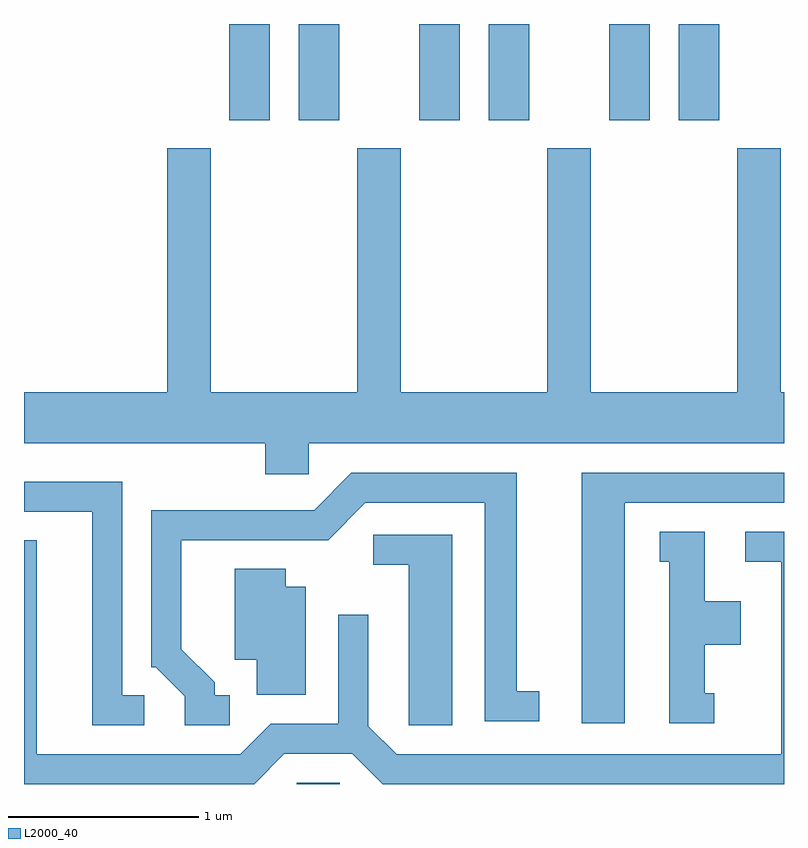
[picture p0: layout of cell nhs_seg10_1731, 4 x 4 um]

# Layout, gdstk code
import gdstk
lib = gdstk.Library(unit=1e-6, precision=1e-09)
def R(c, l, rs):  # rectangles x0, y0, x1, y1
    for r in rs: c.add(gdstk.rectangle(r[:2], r[2:], *l))
def P(c, l, *ps):  # polygons
    for p in ps: c.add(gdstk.Polygon(p, *l))
L2000_40 = (2000, 40)

nhs_seg10_1731 = lib.new_cell('nhs_seg10_1731')
R(nhs_seg10_1731, L2000_40, [(237.046,2156.522,237.274,2156.529), (236.691,2160.016,236.904,2160.522), (237.056,2160.016,237.269,2160.522), (237.691,2160.016,237.904,2160.522), (238.056,2160.016,238.269,2160.522), (238.691,2160.016,238.904,2160.522), (239.056,2160.016,239.269,2160.522)])
P(nhs_seg10_1731, L2000_40, [(237.109,2158.316),(239.611,2158.316),(239.611,2158.584),(239.594,2158.584),(239.594,2159.869),(239.366,2159.869),(239.366,2158.584),(238.594,2158.584),(238.594,2159.869),(238.366,2159.869),(238.366,2158.584),(237.594,2158.584),(237.594,2159.869),(237.366,2159.869),(237.366,2158.584),(236.594,2158.584),(236.594,2159.869),(236.366,2159.869),(236.366,2158.584),(235.611,2158.584),(235.611,2158.316),(236.881,2158.316),(236.881,2158.151),(237.109,2158.151)],
  [(236.693,2156.989),(236.614,2156.989),(236.614,2157.057),(236.439,2157.232),(236.439,2157.806),(237.212,2157.806),(237.407,2158.001),(238.036,2158.001),(238.036,2156.851),(238.323,2156.851),(238.323,2157.009),(238.204,2157.009),(238.204,2158.159),(237.334,2158.159),(237.139,2157.964),(236.281,2157.964),(236.281,2157.136),(236.304,2157.136),(236.456,2156.984),(236.456,2156.831),(236.693,2156.831)],
  [(238.774,2158.001),(239.611,2158.001),(239.611,2158.159),(238.546,2158.159),(238.546,2156.841),(238.774,2156.841)],
  [(236.243,2156.989),(236.129,2156.989),(236.129,2158.114),(235.611,2158.114),(235.611,2157.956),(235.971,2157.956),(235.971,2156.831),(236.243,2156.831)],
  [(236.982,2156.681),(237.339,2156.681),(237.498,2156.522),(239.611,2156.522),(239.611,2157.849),(239.408,2157.849),(239.408,2157.691),(239.596,2157.691),(239.596,2156.679),(237.572,2156.679),(237.424,2156.827),(237.424,2157.413),(237.266,2157.413),(237.266,2156.839),(236.909,2156.839),(236.749,2156.679),(235.679,2156.679),(235.679,2157.804),(235.611,2157.804),(235.611,2156.522),(236.823,2156.522)],
  [(239.243,2156.999),(239.194,2156.999),(239.194,2157.256),(239.384,2157.256),(239.384,2157.484),(239.194,2157.484),(239.194,2157.849),(238.958,2157.849),(238.958,2157.691),(239.006,2157.691),(239.006,2156.841),(239.243,2156.841)],
  [(237.864,2157.834),(237.448,2157.834),(237.448,2157.676),(237.636,2157.676),(237.636,2156.831),(237.864,2156.831)],
  [(237.094,2157.559),(236.989,2157.559),(236.989,2157.654),(236.721,2157.654),(236.721,2157.176),(236.836,2157.176),(236.836,2156.991),(237.094,2156.991)])

lib.write_gds('nhs_seg10_1731.gds')
